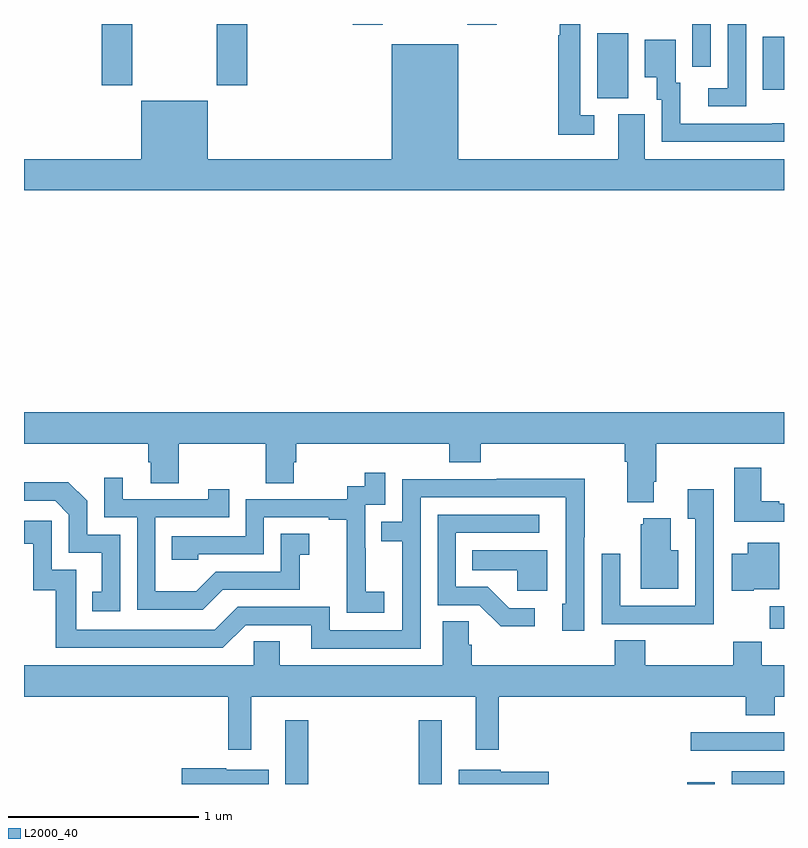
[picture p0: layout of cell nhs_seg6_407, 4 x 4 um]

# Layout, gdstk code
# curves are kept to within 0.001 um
import gdstk
lib = gdstk.Library(unit=1e-6, precision=1e-09)
def R(c, l, rs):  # rectangles x0, y0, x1, y1
    for r in rs: c.add(gdstk.rectangle(r[:2], r[2:], *l))
def P(c, l, *ps):  # polygons
    for p in ps: c.add(gdstk.Polygon(p, *l))
L2000_40 = (2000, 40)

nhs_seg6_407 = lib.new_cell('nhs_seg6_407')
R(nhs_seg6_407, L2000_40, [(134.375,989.5,134.497,989.836), (135.078,989.5,135.199,989.836), (136.49,989.5,136.636,989.509), (136.724,989.5,137,989.566), (136.509,989.676,137,989.772), (136.924,990.318,137,990.436), (136.016,993.109,136.18,993.452), (136.889,993.153,137,993.433), (133.409,993.177,133.569,993.5), (134.014,993.177,134.174,993.5), (136.518,993.276,136.614,993.5), (134.729,993.495,134.889,993.5), (135.334,993.495,135.489,993.5)])
P(nhs_seg6_407, L2000_40, [(136,993.021),(135.927,993.021),(135.927,993.5),(135.819,993.5),(135.819,993.44),(135.811,993.44),(135.811,992.916),(136,992.916)],
  [(136.8,993.5),(136.704,993.5),(136.704,993.162),(136.602,993.162),(136.602,993.066),(136.8,993.066)],
  [(137,992.977),(136.937,992.977),(136.937,992.976),(136.453,992.976),(136.453,993.192),(136.429,993.192),(136.429,993.418),(136.268,993.418),(136.268,993.221),(136.331,993.221),(136.331,993.102),(136.356,993.102),(136.356,992.88),(137,992.88)],
  [(137,992.788),(136.267,992.788),(136.267,993.024),(136.127,993.024),(136.127,992.788),(135.286,992.788),(135.286,993.394),(134.936,993.394),(134.936,992.788),(133.966,992.788),(133.966,993.097),(133.616,993.097),(133.616,992.788),(133,992.788),(133,992.624),(137,992.624)],
  [(136.315,991.09),(136.328,991.09),(136.328,991.292),(137,991.292),(137,991.456),(133,991.456),(133,991.292),(133.655,991.292),(133.655,991.194),(133.667,991.194),(133.667,991.084),(133.815,991.084),(133.815,991.292),(134.272,991.292),(134.272,991.084),(134.419,991.084),(134.419,991.194),(134.432,991.194),(134.432,991.292),(135.239,991.292),(135.239,991.193),(135.404,991.193),(135.404,991.292),(136.163,991.292),(136.163,991.196),(136.175,991.196),(136.175,990.983),(136.315,990.983)],
  [(137,990.975),(136.975,990.975),(136.975,990.988),(136.879,990.988),(136.879,991.165),(136.739,991.165),(136.739,990.879),(137,990.879)],
  [(134.896,990.511),(134.798,990.511),(134.798,990.74),(134.796,990.74),(134.796,990.969),(134.901,990.969),(134.901,991.138),(134.793,991.138),(134.793,991.068),(134.7,991.068),(134.7,990.999),(134.166,990.999),(134.166,990.804),(133.777,990.804),(133.777,990.681),(133.917,990.681),(133.917,990.708),(134.262,990.708),(134.262,990.903),(134.603,990.903),(134.603,990.891),(134.699,990.891),(134.699,990.607),(134.698,990.607),(134.698,990.401),(134.896,990.401)],
  [(134.047,990.522),(134.451,990.522),(134.451,990.707),(134.5,990.707),(134.5,990.817),(134.352,990.817),(134.352,990.618),(134.01,990.618),(133.906,990.514),(133.692,990.514),(133.692,990.903),(134.081,990.903),(134.081,991.051),(133.97,991.051),(133.97,990.999),(133.519,990.999),(133.519,991.111),(133.422,991.111),(133.422,990.903),(133.596,990.903),(133.596,990.417),(133.942,990.417)],
  [(135.087,991.008),(135.851,991.008),(135.852,990.45),(135.833,990.45),(135.833,990.306),(135.948,990.306),(135.948,990.799),(135.951,990.799),(135.951,991.106),(135.487,991.106),(135.487,991.104),(134.991,991.104),(134.991,990.879),(134.881,990.879),(134.881,990.778),(134.991,990.778),(134.991,990.309),(134.61,990.309),(134.61,990.432),(134.124,990.432),(134.004,990.312),(133.275,990.312),(133.275,990.627),(133.146,990.627),(133.146,990.886),(133,990.886),(133,990.765),(133.049,990.765),(133.049,990.519),(133.167,990.519),(133.167,990.216),(134.046,990.216),(134.166,990.336),(134.513,990.336),(134.513,990.213),(135.087,990.213)],
  [(133.506,990.813),(133.332,990.813),(133.332,990.99),(133.234,991.088),(133,991.088),(133,990.99),(133.164,990.99),(133.236,990.918),(133.236,990.717),(133.409,990.717),(133.409,990.513),(133.36,990.513),(133.36,990.408),(133.506,990.408)],
  [(136.629,991.051),(136.493,991.051),(136.493,990.895),(136.533,990.895),(136.533,990.438),(136.137,990.438),(136.137,990.712),(136.041,990.712),(136.041,990.342),(136.357,990.342),(136.357,990.341),(136.629,990.341)],
  [(135.688,990.426),(135.553,990.426),(135.442,990.537),(135.273,990.537),(135.273,990.822),(135.712,990.822),(135.712,990.918),(135.177,990.918),(135.177,990.441),(135.396,990.441),(135.509,990.329),(135.688,990.329)],
  [(136.444,990.73),(136.405,990.73),(136.405,990.898),(136.259,990.898),(136.259,990.867),(136.247,990.867),(136.247,990.527),(136.444,990.527)],
  [(136.842,990.524),(136.975,990.524),(136.975,990.769),(136.808,990.769),(136.808,990.712),(136.724,990.712),(136.724,990.518),(136.842,990.518)],
  [(135.754,990.73),(135.358,990.73),(135.358,990.626),(135.597,990.626),(135.597,990.518),(135.754,990.518)],
  [(136.799,989.861),(136.951,989.861),(136.951,989.96),(137,989.96),(137,990.124),(136.883,990.124),(136.883,990.248),(136.732,990.248),(136.732,990.124),(136.269,990.124),(136.269,990.257),(136.109,990.257),(136.109,990.124),(135.356,990.124),(135.356,990.233),(135.342,990.233),(135.342,990.356),(135.203,990.356),(135.203,990.124),(134.347,990.124),(134.347,990.251),(134.208,990.251),(134.208,990.124),(133,990.124),(133,989.96),(134.076,989.96),(134.076,989.679),(134.197,989.679),(134.197,989.96),(135.377,989.96),(135.377,989.679),(135.499,989.679),(135.499,989.96),(136.799,989.96)],
  [(134.287,989.575),(134.064,989.575),(134.064,989.583),(133.83,989.583),(133.83,989.5),(134.287,989.5)],
  [(135.763,989.565),(135.51,989.565),(135.51,989.575),(135.287,989.575),(135.287,989.5),(135.763,989.5)])

lib.write_gds('nhs_seg6_407.gds')
